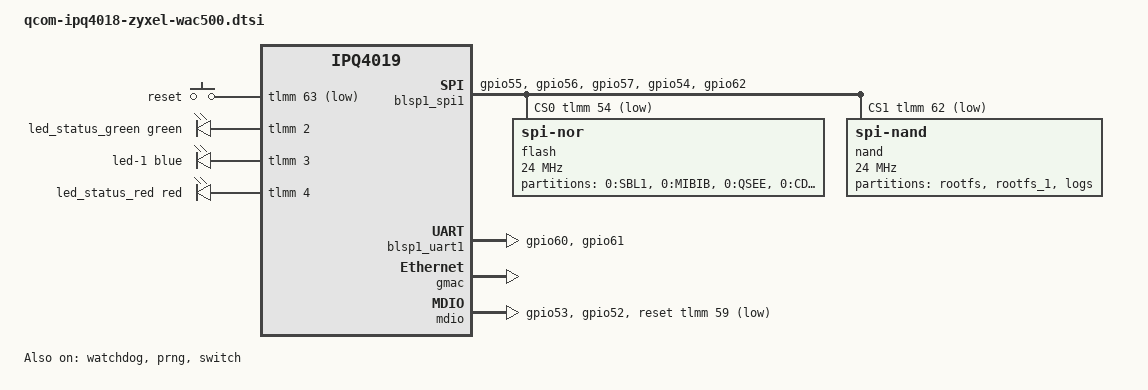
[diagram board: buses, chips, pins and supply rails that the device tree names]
// SPDX-License-Identifier: GPL-2.0-or-later OR MIT

#include "qcom-ipq4019.dtsi"
#include <dt-bindings/gpio/gpio.h>
#include <dt-bindings/input/input.h>
#include <dt-bindings/leds/common.h>
#include <dt-bindings/soc/qcom,tcsr.h>

/ {
	chosen {
		bootargs-append = " root=/dev/ubiblock0_1";
	};

	soc {
		counter@4a1000 {
			compatible = "qcom,qca-gcnt";
			reg = <0x4a1000 0x4>;
		};

		tcsr@1949000 {
			compatible = "qcom,tcsr";
			reg = <0x1949000 0x100>;
			qcom,wifi_glb_cfg = <TCSR_WIFI_GLB_CFG>;
		};

		ess_tcsr@1953000 {
			compatible = "qcom,tcsr";
			reg = <0x1953000 0x1000>;
			qcom,ess-interface-select = <TCSR_ESS_PSGMII>;
		};

		tcsr@1957000 {
			compatible = "qcom,tcsr";
			reg = <0x1957000 0x100>;
			qcom,wifi_noc_memtype_m0_m2 = <TCSR_WIFI_NOC_MEMTYPE_M0_M2>;
		};
	};

	keys {
		compatible = "gpio-keys";

		reset {
			label = "reset";
			gpios = <&tlmm 63 GPIO_ACTIVE_LOW>;
			linux,code = <KEY_RESTART>;
			debounce-interval = <60>;
		};
	};

	leds {
		compatible = "gpio-leds";

		/* single multi-colour status LED (3 GPIO channels) */
		led_status_green: led-0 {
			color = <LED_COLOR_ID_GREEN>;
			function = LED_FUNCTION_STATUS;
			gpios = <&tlmm 2 GPIO_ACTIVE_HIGH>;
		};

		led-1 {
			color = <LED_COLOR_ID_BLUE>;
			function = LED_FUNCTION_STATUS;
			gpios = <&tlmm 3 GPIO_ACTIVE_HIGH>;
		};

		led_status_red: led-2 {
			color = <LED_COLOR_ID_RED>;
			function = LED_FUNCTION_STATUS;
			gpios = <&tlmm 4 GPIO_ACTIVE_HIGH>;
		};
	};
};

&watchdog {
	status = "okay";
};

&prng {
	status = "okay";
};

&tlmm {
	mdio_pins: mdio_pinmux {
		mux_mdio {
			pins = "gpio53";
			function = "mdio";
			bias-pull-up;
		};

		mux_mdc {
			pins = "gpio52";
			function = "mdc";
			bias-pull-up;
		};
	};

	serial_pins: serial_pinmux {
		mux {
			pins = "gpio60", "gpio61";
			function = "blsp_uart0";
			bias-disable;
		};
	};

	/* Same pad settings as the stock firmware */
	spi_0_pins: spi_0_pinmux {
		pinmux {
			function = "blsp_spi0";
			pins = "gpio55", "gpio56", "gpio57";
			drive-strength = <2>;
			bias-disable;
		};

		pinmux_cs {
			function = "gpio";
			pins = "gpio54";
			drive-strength = <2>;
			bias-disable;
			output-high;
		};

		pinmux_cs_nand {
			function = "gpio";
			pins = "gpio62";
			drive-strength = <10>;
			bias-pull-up;
			output-high;
		};
	};
};

&blsp_dma {
	status = "okay";
};

&blsp1_spi1 {
	status = "okay";

	pinctrl-0 = <&spi_0_pins>;
	pinctrl-names = "default";
	cs-gpios = <&tlmm 54 GPIO_ACTIVE_LOW>,
		   <&tlmm 62 GPIO_ACTIVE_LOW>;

	flash@0 {
		compatible = "jedec,spi-nor";
		spi-max-frequency = <24000000>;
		reg = <0>;

		partitions {
			compatible = "fixed-partitions";
			#address-cells = <1>;
			#size-cells = <1>;

			partition@0 {
				label = "0:SBL1";
				reg = <0x00000000 0x00040000>;
				read-only;
			};

			partition@40000 {
				label = "0:MIBIB";
				reg = <0x00040000 0x00020000>;
				read-only;
			};

			partition@60000 {
				label = "0:QSEE";
				reg = <0x00060000 0x00060000>;
				read-only;
			};

			partition@c0000 {
				label = "0:CDT";
				reg = <0x000c0000 0x00010000>;
				read-only;
			};

			partition@d0000 {
				label = "0:DDRPARAMS";
				reg = <0x000d0000 0x00010000>;
				read-only;
			};

			partition@e0000 {
				label = "0:APPSBLENV";
				reg = <0x000e0000 0x00010000>;
			};

			partition@f0000 {
				label = "0:APPSBL";
				reg = <0x000f0000 0x00080000>;
				read-only;
			};

			partition@170000 {
				label = "0:ART";
				reg = <0x00170000 0x00010000>;
				read-only;

				nvmem-layout {
					compatible = "fixed-layout";
					#address-cells = <1>;
					#size-cells = <1>;

					precal_art_1000: precal@1000 {
						reg = <0x1000 0x2f20>;
					};

					precal_art_5000: precal@5000 {
						reg = <0x5000 0x2f20>;
					};
				};
			};

			partition@180000 {
				/*
				 * Lowercase to match the lookup in
				 * zyxel-bootconfig-ipq807x-ipq40xx
				 */
				label = "0:bootconfig";
				reg = <0x00180000 0x00020000>;
			};

			partition@1a0000 {
				label = "0:bootconfig1";
				reg = <0x001a0000 0x00020000>;
			};

			partition@1c0000 {
				label = "0:QSEE_1";
				reg = <0x001c0000 0x00060000>;
				read-only;
			};

			partition@220000 {
				label = "0:CDT_1";
				reg = <0x00220000 0x00010000>;
				read-only;
			};

			partition@230000 {
				label = "0:APPSBL_1";
				reg = <0x00230000 0x00080000>;
				read-only;
			};

			partition@2b0000 {
				label = "mrd";
				reg = <0x002b0000 0x00010000>;

				nvmem-layout {
					compatible = "fixed-layout";
					#address-cells = <1>;
					#size-cells = <1>;

					macaddr_mrd_fff8: macaddr@fff8 {
						compatible = "mac-base";
						reg = <0xfff8 0x6>;
						#nvmem-cell-cells = <1>;
					};
				};
			};

			partition@2c0000 {
				label = "mrd_1";
				reg = <0x002c0000 0x00010000>;
			};

			partition@2d0000 {
				label = "db";
				reg = <0x002d0000 0x00530000>;
			};
		};
	};

	nand@1 {
		compatible = "spi-nand";
		reg = <1>;
		spi-max-frequency = <24000000>;

		partitions {
			compatible = "fixed-partitions";
			#address-cells = <1>;
			#size-cells = <1>;

			partition@0 {
				label = "rootfs";
				reg = <0x00000000 0x03400000>;
				linux,rootfs;
			};

			partition@3400000 {
				label = "rootfs_1";
				reg = <0x03400000 0x03400000>;
			};

			partition@6800000 {
				label = "logs";
				reg = <0x06800000 0x01800000>;
			};
		};
	};
};

&blsp1_uart1 {
	status = "okay";

	pinctrl-0 = <&serial_pins>;
	pinctrl-names = "default";
};

&gmac {
	status = "okay";
	nvmem-cell-names = "mac-address";
	nvmem-cells = <&macaddr_mrd_fff8 0>;
};

&switch {
	status = "okay";
};

&mdio {
	status = "okay";

	pinctrl-0 = <&mdio_pins>;
	pinctrl-names = "default";
	reset-gpios = <&tlmm 59 GPIO_ACTIVE_LOW>;
	reset-delay-us = <2000>;
};
